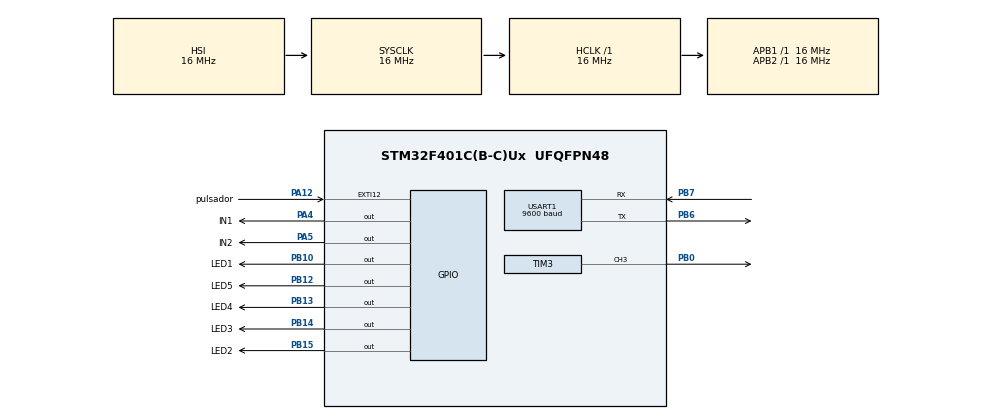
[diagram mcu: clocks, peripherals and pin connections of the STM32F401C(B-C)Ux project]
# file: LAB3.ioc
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Dma.Request0=USART1_RX
Dma.USART1_RX.0.Direction=DMA_PERIPH_TO_MEMORY
Dma.USART1_RX.0.FIFOMode=DMA_FIFOMODE_DISABLE
Dma.USART1_RX.0.Instance=DMA2_Stream2
Dma.USART1_RX.0.MemDataAlignment=DMA_MDATAALIGN_BYTE
Dma.USART1_RX.0.MemInc=DMA_MINC_ENABLE
Dma.USART1_RX.0.Mode=DMA_NORMAL
Dma.USART1_RX.0.PeriphDataAlignment=DMA_PDATAALIGN_BYTE
Dma.USART1_RX.0.PeriphInc=DMA_PINC_DISABLE
Dma.USART1_RX.0.Priority=DMA_PRIORITY_LOW
Mcu.Family=STM32F4
Mcu.Name=STM32F401C(B-C)Ux
Mcu.Package=UFQFPN48
NVIC.DMA2_Stream2_IRQn=true\:0\:0\:true\:false\:true\:false\:true\:true
NVIC.EXTI15_10_IRQn=true\:0\:0\:false\:false\:true\:true\:true\:true
NVIC.PriorityGroup=NVIC_PRIORITYGROUP_2
NVIC.TIM3_IRQn=true\:1\:0\:true\:false\:true\:true\:true\:true
NVIC.USART1_IRQn=true\:0\:0\:false\:false\:true\:true\:true\:true
PA12.GPIO_Label=pulsador
PA12.GPIO_ModeDefaultEXTI=GPIO_MODE_IT_FALLING
PA12.GPIO_PuPd=GPIO_PULLUP
PA12.Signal=GPXTI12
PA4.GPIO_Label=IN1
PA4.Signal=GPIO_Output
PA5.GPIO_Label=IN2
PA5.Signal=GPIO_Output
PB0.Signal=S_TIM3_CH3
PB10.GPIO_Label=LED1
PB10.Signal=GPIO_Output
PB12.GPIO_Label=LED5
PB12.Signal=GPIO_Output
PB13.GPIO_Label=LED4
PB13.Signal=GPIO_Output
PB14.GPIO_Label=LED3
PB14.Signal=GPIO_Output
PB15.GPIO_Label=LED2
PB15.Signal=GPIO_Output
PB6.Mode=Asynchronous
PB6.Signal=USART1_TX
PB7.Mode=Asynchronous
PB7.Signal=USART1_RX
ProjectManager.HeapSize=0x200
ProjectManager.StackSize=0x400
ProjectManager.TargetToolchain=CMake
RCC.48MHZClocksFreq_Value=48000000
RCC.AHBFreq_Value=16000000
RCC.APB1Freq_Value=16000000
RCC.APB1TimFreq_Value=16000000
RCC.APB2Freq_Value=16000000
RCC.APB2TimFreq_Value=16000000
RCC.CortexFreq_Value=16000000
RCC.HCLKFreq_Value=16000000
RCC.HSE_VALUE=25000000
RCC.HSI_VALUE=16000000
RCC.LSE_VALUE=32768
RCC.SYSCLKFreq_VALUE=16000000
RCC.VCOOutputFreq_Value=192000000
SH.S_TIM3_CH3.0=TIM3_CH3,PWM Generation3 CH3
TIM3.AutoReloadPreload=TIM_AUTORELOAD_PRELOAD_ENABLE
TIM3.Channel-PWM\ Generation3\ CH3=TIM_CHANNEL_3
TIM3.Period=19999
TIM3.Prescaler=16-1
USART1.BaudRate=9600
USART1.VirtualMode=VM_ASYNC
VP_TIM3_VS_ClockSourceINT.Mode=Internal
board=custom

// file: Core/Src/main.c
/* USER CODE BEGIN Header */
/**
  ******************************************************************************
  * @file           : main.c
  * @brief          : Main program body
  ******************************************************************************
  * @attention
  *
  * Copyright (c) 2026 STMicroelectronics.
  * All rights reserved.
  *
  * This software is licensed under terms that can be found in the LICENSE file
  * in the root directory of this software component.
  * If no LICENSE file comes with this software, it is provided AS-IS.
  *
  ******************************************************************************
  */
/* USER CODE END Header */
#include "main.h"

/* USER CODE BEGIN Includes */
#include "stdio.h"
#include "string.h"
#include "stdlib.h"
#include "math.h"
#include "stdint.h"
#include "uart.h"
#include "UARTRX.h"
#include "PWMB.h"

/* USER CODE END Includes */

TIM_HandleTypeDef htim3;

UART_HandleTypeDef huart1;
DMA_HandleTypeDef hdma_usart1_rx;

void SystemClock_Config(void);
static void MX_GPIO_Init(void);
static void MX_DMA_Init(void);
static void MX_USART1_UART_Init(void);
static void MX_TIM3_Init(void);

/* USER CODE BEGIN 0 */
void procesa_rx()
{
  if(strstr(UARTRX1.trama_rx,"LED5=ON*")){
    HAL_GPIO_WritePin(LED5_GPIO_Port, LED5_Pin, GPIO_PIN_SET);
  }
  else if(strstr(UARTRX1.trama_rx,"LED5=OFF*")){
    HAL_GPIO_WritePin(LED5_GPIO_Port, LED5_Pin, GPIO_PIN_RESET);
  }
   else if(strstr(UARTRX1.trama_rx,"MOTOR=MAX*")){
     HAL_GPIO_WritePin(GPIOA, GPIO_PIN_1, GPIO_PIN_SET);
    HAL_GPIO_WritePin(GPIOA, GPIO_PIN_2, GPIO_PIN_RESET);
    PWM_RAW(&PWM3, 19999);
  }

  else if(strstr(UARTRX1.trama_rx,"MOTOR=MED*")){
    HAL_GPIO_WritePin(GPIOA, GPIO_PIN_1, GPIO_PIN_SET);
    HAL_GPIO_WritePin(GPIOA, GPIO_PIN_2, GPIO_PIN_RESET);
    PWM_RAW(&PWM3, 10000);
  }

  else if(strstr(UARTRX1.trama_rx,"MOTOR=OFF*")){
    HAL_GPIO_WritePin(GPIOA, GPIO_PIN_1, GPIO_PIN_RESET);
    HAL_GPIO_WritePin(GPIOA, GPIO_PIN_2, GPIO_PIN_RESET);
    PWM_RAW(&PWM3, 0);
  }
}

/* USER CODE END 0 */

int main(void)
{

  /* MCU Configuration--------------------------------------------------------*/

  /* Reset of all peripherals, Initializes the Flash interface and the Systick. */
  HAL_Init();

  /* Configure the system clock */
  SystemClock_Config();

  /* Initialize all configured peripherals */
  MX_GPIO_Init();
  MX_DMA_Init();
  MX_USART1_UART_Init();
  MX_TIM3_Init();
  /* USER CODE BEGIN 2 */
HAL_TIM_Base_Start_IT(&htim3);
 uartRX_it_idle_dma_init( &UARTRX1);
 PWM_init(&PWM3);

  /* USER CODE END 2 */

  /* Infinite loop */
  /* USER CODE BEGIN WHILE */
  while (1)
  {
    HAL_GPIO_TogglePin(LED1_GPIO_Port, LED1_Pin);
    HAL_Delay(100);

    if (UARTRX1.flag_rx==1)
	  {
	     uartx_write_text(&huart1, UARTRX1.trama_rx);
	    procesa_rx(); //procedimeinto donde se procesan los datos
		  uartRX_DMA_Re_init(&UARTRX1);
	  }

    /* USER CODE END WHILE */

  }
}

void SystemClock_Config(void)
{
  RCC_OscInitTypeDef RCC_OscInitStruct = {0};
  RCC_ClkInitTypeDef RCC_ClkInitStruct = {0};

  /** Configure the main internal regulator output voltage
  */
  __HAL_RCC_PWR_CLK_ENABLE();
  __HAL_PWR_VOLTAGESCALING_CONFIG(PWR_REGULATOR_VOLTAGE_SCALE2);

  /** Initializes the RCC Oscillators according to the specified parameters
  * in the RCC_OscInitTypeDef structure.
  */
  RCC_OscInitStruct.OscillatorType = RCC_OSCILLATORTYPE_HSI;
  RCC_OscInitStruct.HSIState = RCC_HSI_ON;
  RCC_OscInitStruct.HSICalibrationValue = RCC_HSICALIBRATION_DEFAULT;
  RCC_OscInitStruct.PLL.PLLState = RCC_PLL_NONE;
  if (HAL_RCC_OscConfig(&RCC_OscInitStruct) != HAL_OK)
  {
    Error_Handler();
  }

  /** Initializes the CPU, AHB and APB buses clocks
  */
  RCC_ClkInitStruct.ClockType = RCC_CLOCKTYPE_HCLK|RCC_CLOCKTYPE_SYSCLK
                              |RCC_CLOCKTYPE_PCLK1|RCC_CLOCKTYPE_PCLK2;
  RCC_ClkInitStruct.SYSCLKSource = RCC_SYSCLKSOURCE_HSI;
  RCC_ClkInitStruct.AHBCLKDivider = RCC_SYSCLK_DIV1;
  RCC_ClkInitStruct.APB1CLKDivider = RCC_HCLK_DIV1;
  RCC_ClkInitStruct.APB2CLKDivider = RCC_HCLK_DIV1;

  if (HAL_RCC_ClockConfig(&RCC_ClkInitStruct, FLASH_LATENCY_0) != HAL_OK)
  {
    Error_Handler();
  }
}

static void MX_TIM3_Init(void)
{

  TIM_ClockConfigTypeDef sClockSourceConfig = {0};
  TIM_MasterConfigTypeDef sMasterConfig = {0};
  TIM_OC_InitTypeDef sConfigOC = {0};

  htim3.Instance = TIM3;
  htim3.Init.Prescaler = 16-1;
  htim3.Init.CounterMode = TIM_COUNTERMODE_UP;
  htim3.Init.Period = 19999;
  htim3.Init.ClockDivision = TIM_CLOCKDIVISION_DIV1;
  htim3.Init.AutoReloadPreload = TIM_AUTORELOAD_PRELOAD_ENABLE;
  if (HAL_TIM_Base_Init(&htim3) != HAL_OK)
  {
    Error_Handler();
  }
  sClockSourceConfig.ClockSource = TIM_CLOCKSOURCE_INTERNAL;
  if (HAL_TIM_ConfigClockSource(&htim3, &sClockSourceConfig) != HAL_OK)
  {
    Error_Handler();
  }
  if (HAL_TIM_PWM_Init(&htim3) != HAL_OK)
  {
    Error_Handler();
  }
  sMasterConfig.MasterOutputTrigger = TIM_TRGO_RESET;
  sMasterConfig.MasterSlaveMode = TIM_MASTERSLAVEMODE_DISABLE;
  if (HAL_TIMEx_MasterConfigSynchronization(&htim3, &sMasterConfig) != HAL_OK)
  {
    Error_Handler();
  }
  sConfigOC.OCMode = TIM_OCMODE_PWM1;
  sConfigOC.Pulse = 0;
  sConfigOC.OCPolarity = TIM_OCPOLARITY_HIGH;
  sConfigOC.OCFastMode = TIM_OCFAST_DISABLE;
  if (HAL_TIM_PWM_ConfigChannel(&htim3, &sConfigOC, TIM_CHANNEL_3) != HAL_OK)
  {
    Error_Handler();
  }
  HAL_TIM_MspPostInit(&htim3);

}

static void MX_USART1_UART_Init(void)
{

  huart1.Instance = USART1;
  huart1.Init.BaudRate = 9600;
  huart1.Init.WordLength = UART_WORDLENGTH_8B;
  huart1.Init.StopBits = UART_STOPBITS_1;
  huart1.Init.Parity = UART_PARITY_NONE;
  huart1.Init.Mode = UART_MODE_TX_RX;
  huart1.Init.HwFlowCtl = UART_HWCONTROL_NONE;
  huart1.Init.OverSampling = UART_OVERSAMPLING_16;
  if (HAL_UART_Init(&huart1) != HAL_OK)
  {
    Error_Handler();
  }

}

static void MX_DMA_Init(void)
{

  /* DMA controller clock enable */
  __HAL_RCC_DMA2_CLK_ENABLE();

  /* DMA interrupt init */
  /* DMA2_Stream2_IRQn interrupt configuration */
  HAL_NVIC_SetPriority(DMA2_Stream2_IRQn, 0, 0);
  HAL_NVIC_EnableIRQ(DMA2_Stream2_IRQn);

}

static void MX_GPIO_Init(void)
{
  GPIO_InitTypeDef GPIO_InitStruct = {0};

  /* GPIO Ports Clock Enable */
  __HAL_RCC_GPIOA_CLK_ENABLE();
  __HAL_RCC_GPIOB_CLK_ENABLE();

  /*Configure GPIO pin Output Level */
  HAL_GPIO_WritePin(GPIOA, IN1_Pin|IN2_Pin, GPIO_PIN_RESET);

  /*Configure GPIO pin Output Level */
  HAL_GPIO_WritePin(GPIOB, LED1_Pin|LED5_Pin|LED4_Pin|LED3_Pin
                          |LED2_Pin, GPIO_PIN_RESET);

  /*Configure GPIO pins : IN1_Pin IN2_Pin */
  GPIO_InitStruct.Pin = IN1_Pin|IN2_Pin;
  GPIO_InitStruct.Mode = GPIO_MODE_OUTPUT_PP;
  GPIO_InitStruct.Pull = GPIO_NOPULL;
  GPIO_InitStruct.Speed = GPIO_SPEED_FREQ_LOW;
  HAL_GPIO_Init(GPIOA, &GPIO_InitStruct);

  /*Configure GPIO pins : LED1_Pin LED5_Pin LED4_Pin LED3_Pin
                           LED2_Pin */
  GPIO_InitStruct.Pin = LED1_Pin|LED5_Pin|LED4_Pin|LED3_Pin
                          |LED2_Pin;
  GPIO_InitStruct.Mode = GPIO_MODE_OUTPUT_PP;
  GPIO_InitStruct.Pull = GPIO_NOPULL;
  GPIO_InitStruct.Speed = GPIO_SPEED_FREQ_LOW;
  HAL_GPIO_Init(GPIOB, &GPIO_InitStruct);

  /*Configure GPIO pin : pulsador_Pin */
  GPIO_InitStruct.Pin = pulsador_Pin;
  GPIO_InitStruct.Mode = GPIO_MODE_IT_FALLING;
  GPIO_InitStruct.Pull = GPIO_PULLUP;
  HAL_GPIO_Init(pulsador_GPIO_Port, &GPIO_InitStruct);

  /* EXTI interrupt init*/
  HAL_NVIC_SetPriority(EXTI15_10_IRQn, 0, 0);
  HAL_NVIC_EnableIRQ(EXTI15_10_IRQn);

}

void Error_Handler(void)
{
  __disable_irq();
  while (1)
  {
  }
}
